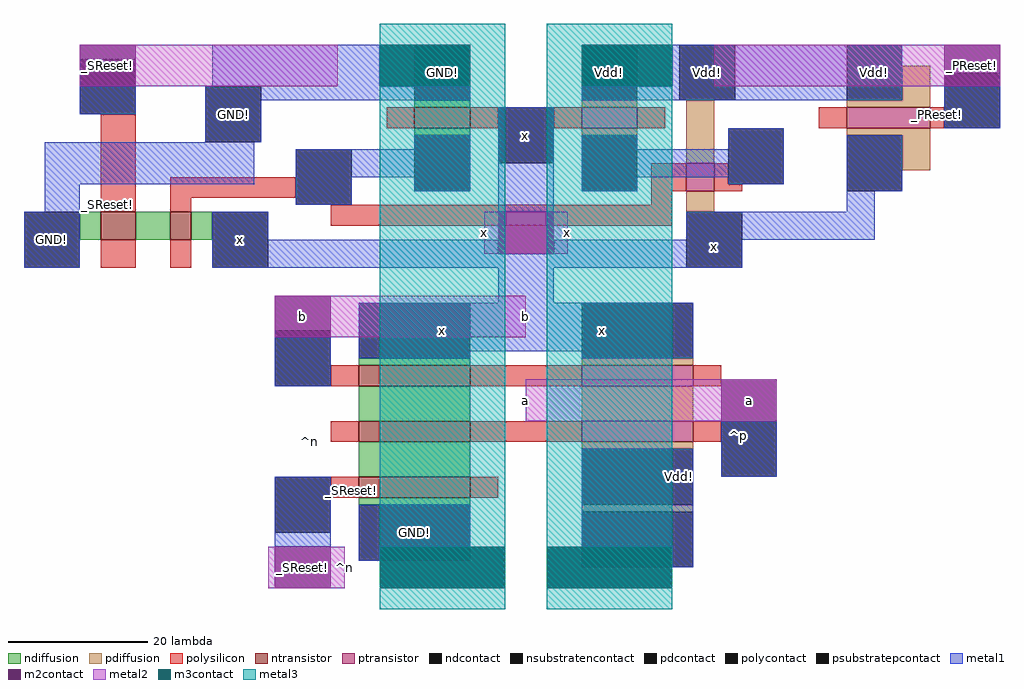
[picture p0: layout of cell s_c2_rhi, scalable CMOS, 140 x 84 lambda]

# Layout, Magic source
magic
tech scmos
<< ndiffusion >>
rect -16 80 -8 81
rect -16 76 -8 77
rect -64 61 -61 65
rect -56 61 -51 65
rect -48 61 -45 65
rect -24 43 -8 44
rect -24 35 -8 40
rect -24 27 -8 32
rect -24 23 -8 24
<< pdiffusion >>
rect 54 81 58 86
rect 8 80 16 81
rect 8 76 16 77
rect 23 72 27 81
rect 46 80 58 81
rect 46 76 58 77
rect 54 71 58 76
rect 23 65 27 68
rect 8 43 24 44
rect 8 35 24 40
rect 8 31 24 32
rect 8 22 24 23
<< ntransistor >>
rect -16 77 -8 80
rect -61 61 -56 65
rect -51 61 -48 65
rect -24 40 -8 43
rect -24 32 -8 35
rect -24 24 -8 27
<< ptransistor >>
rect 8 77 16 80
rect 46 77 58 80
rect 23 68 27 72
rect 8 40 24 43
rect 8 32 24 35
<< polysilicon >>
rect -61 65 -56 79
rect -20 77 -16 80
rect -8 77 -4 80
rect -51 67 -33 70
rect -51 65 -48 67
rect 4 77 8 80
rect 16 77 20 80
rect 42 77 46 80
rect 58 77 60 80
rect 18 68 23 72
rect 27 69 29 72
rect 27 68 31 69
rect 18 66 21 68
rect -61 57 -56 61
rect -51 57 -48 61
rect -28 63 21 66
rect -28 40 -24 43
rect -8 40 8 43
rect 24 40 28 43
rect -28 32 -24 35
rect -8 32 8 35
rect 24 32 28 35
rect -28 24 -24 27
rect -8 24 -4 27
<< ndcontact >>
rect -16 81 -8 89
rect -16 68 -8 76
rect -72 57 -64 65
rect -45 57 -37 65
rect -24 44 -8 52
rect -24 15 -8 23
<< pdcontact >>
rect 8 81 16 89
rect 22 81 30 89
rect 46 81 54 89
rect 8 68 16 76
rect 46 68 54 76
rect 23 57 31 65
rect 8 44 24 52
rect 8 23 24 31
<< psubstratepcontact >>
rect -46 75 -38 83
<< nsubstratencontact >>
rect 8 14 24 22
<< polycontact >>
rect -64 79 -56 87
rect -33 66 -25 74
rect -4 72 4 80
rect 60 77 68 85
rect 29 69 37 77
rect -36 40 -28 48
rect -36 19 -28 27
rect 28 27 36 35
<< metal1 >>
rect -45 83 -21 89
rect -64 79 -56 83
rect -46 81 -8 83
rect 21 83 54 89
rect 8 81 54 83
rect -46 75 -38 81
rect -69 69 -39 75
rect -16 74 -8 76
rect -33 70 -8 74
rect -69 65 -64 69
rect -33 66 -25 70
rect -16 68 -8 70
rect -4 65 4 80
rect 60 77 68 83
rect 8 74 16 76
rect 29 74 37 77
rect 8 70 37 74
rect 8 68 16 70
rect 29 69 37 70
rect 46 68 54 76
rect 46 65 50 68
rect -72 57 -64 65
rect -45 61 -37 65
rect -45 59 -4 61
rect 23 61 50 65
rect 4 59 31 61
rect -45 57 31 59
rect -4 52 4 57
rect -36 40 -28 47
rect -24 45 24 52
rect -24 44 -8 45
rect 8 44 24 45
rect -36 17 -28 27
rect -24 17 -8 23
rect 8 17 24 31
rect 28 27 36 35
rect -24 15 -21 17
rect 21 14 24 17
<< m2contact >>
rect -64 83 -56 89
rect -21 83 -8 89
rect 8 83 21 89
rect 60 83 68 89
rect -4 59 4 65
rect -36 47 -28 53
rect 28 35 36 41
rect -36 11 -28 17
rect -21 11 -3 17
rect 3 11 21 17
<< metal2 >>
rect -64 83 -27 89
rect 27 83 68 89
rect -6 59 6 65
rect -36 47 0 53
rect 0 35 36 41
rect -37 11 -26 17
<< m3contact >>
rect -21 83 -8 89
rect 8 83 21 89
rect -21 11 -3 17
rect 3 11 21 17
<< metal3 >>
rect -21 8 -3 92
rect 3 8 21 92
<< labels >>
rlabel metal1 -12 48 -12 48 5 x
rlabel metal1 22 27 22 27 1 Vdd!
rlabel metal2 0 47 0 53 7 b
rlabel metal2 -32 50 -32 50 1 b
rlabel metal1 26 85 26 85 5 Vdd!
rlabel metal1 50 85 50 85 6 Vdd!
rlabel metal1 -68 61 -68 61 3 GND!
rlabel polysilicon -60 66 -60 66 3 _SReset!
rlabel metal1 27 60 27 60 5 x
rlabel polysilicon 59 79 59 79 7 _PReset!
rlabel metal1 -41 61 -41 61 3 x
rlabel metal2 64 86 64 86 5 _PReset!
rlabel metal2 -60 86 -60 86 5 _SReset!
rlabel ndcontact -12 85 -12 85 5 GND!
rlabel pdcontact 12 85 12 85 5 Vdd!
rlabel metal1 11 48 11 48 5 x
rlabel metal2 -6 59 -6 65 3 x
rlabel metal2 6 59 6 65 7 x
rlabel metal1 0 76 0 76 1 x
rlabel metal2 0 35 0 41 3 a
rlabel metal2 32 38 32 38 1 a
rlabel metal1 -16 19 -16 19 1 GND!
rlabel polysilicon -25 25 -25 25 1 _SReset!
rlabel space -38 10 -24 54 7 ^n
rlabel metal2 -32 14 -32 14 1 _SReset!
rlabel metal2 -26 11 -26 17 3 ^n
rlabel metal1 -42 79 -42 79 1 GND!
rlabel space 24 14 37 52 3 ^p
<< end >>
